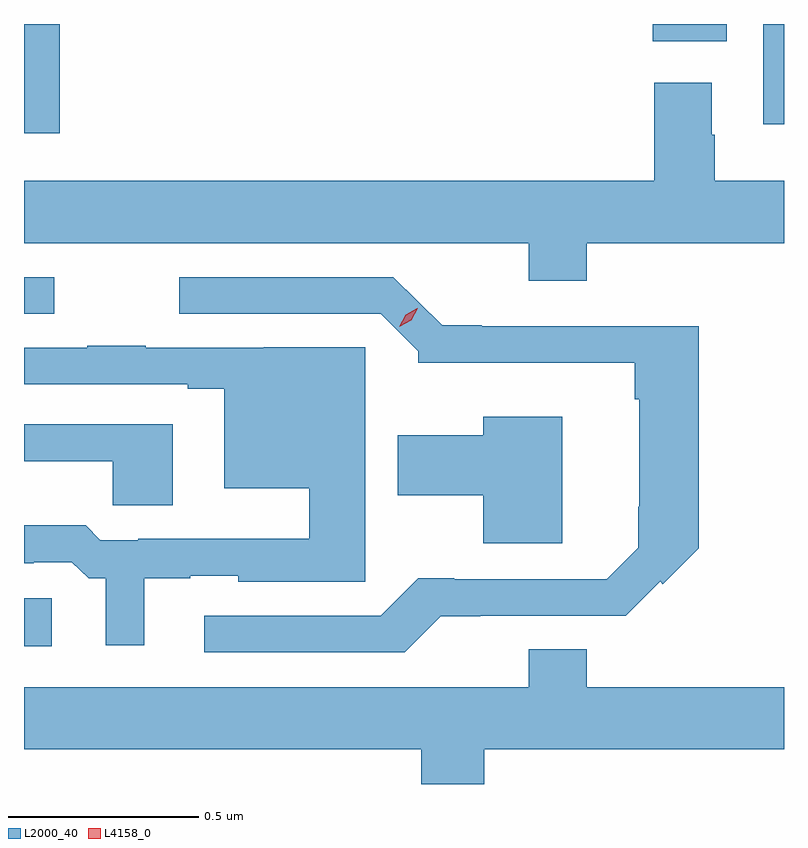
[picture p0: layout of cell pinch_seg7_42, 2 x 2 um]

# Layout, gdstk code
import gdstk
lib = gdstk.Library(unit=1e-6, precision=1e-09)
def R(c, l, rs):  # rectangles x0, y0, x1, y1
    for r in rs: c.add(gdstk.rectangle(r[:2], r[2:], *l))
def P(c, l, *ps):  # polygons
    for p in ps: c.add(gdstk.Polygon(p, *l))
L2000_40 = (2000, 40)
L4158_0 = (4158, 0)

pinch_seg7_42 = lib.new_cell('pinch_seg7_42')
R(pinch_seg7_42, L2000_40, [(1046.157,1044.843,1046.23,1044.97), (1046.157,1045.719,1046.236,1045.815), (1046.157,1046.193,1046.251,1046.481), (1048.103,1046.217,1048.157,1046.481), (1047.812,1046.435,1048.006,1046.481)])
P(pinch_seg7_42, L2000_40, [(1047.638,1045.904),(1048.157,1045.904),(1048.157,1046.068),(1047.975,1046.068),(1047.975,1046.189),(1047.967,1046.189),(1047.967,1046.326),(1047.815,1046.326),(1047.815,1046.068),(1046.157,1046.068),(1046.157,1045.904),(1047.485,1045.904),(1047.485,1045.805),(1047.638,1045.805)],
  [(1047.254,1044.923),(1047.358,1044.923),(1047.358,1044.924),(1047.741,1044.924),(1047.831,1045.015),(1047.838,1045.007),(1047.932,1045.101),(1047.932,1045.686),(1047.361,1045.686),(1047.361,1045.688),(1047.257,1045.688),(1047.129,1045.815),(1046.565,1045.815),(1046.565,1045.719),(1047.096,1045.719),(1047.195,1045.62),(1047.195,1045.589),(1047.764,1045.589),(1047.764,1045.493),(1047.776,1045.493),(1047.776,1045.21),(1047.774,1045.21),(1047.774,1045.103),(1047.69,1045.02),(1047.289,1045.02),(1047.289,1045.023),(1047.195,1045.023),(1047.096,1044.924),(1046.631,1044.924),(1046.631,1044.828),(1047.159,1044.828)],
  [(1046.473,1045.022),(1046.595,1045.022),(1046.595,1045.029),(1046.721,1045.029),(1046.721,1045.013),(1047.055,1045.013),(1047.055,1045.63),(1046.788,1045.63),(1046.788,1045.629),(1046.477,1045.629),(1046.477,1045.634),(1046.323,1045.634),(1046.323,1045.629),(1046.157,1045.629),(1046.157,1045.533),(1046.588,1045.533),(1046.588,1045.521),(1046.684,1045.521),(1046.684,1045.259),(1046.908,1045.259),(1046.908,1045.126),(1046.458,1045.126),(1046.458,1045.122),(1046.358,1045.122),(1046.319,1045.162),(1046.157,1045.162),(1046.157,1045.062),(1046.183,1045.062),(1046.183,1045.065),(1046.283,1045.065),(1046.327,1045.022),(1046.372,1045.022),(1046.372,1044.846),(1046.473,1044.846)],
  [(1047.574,1045.447),(1047.365,1045.447),(1047.365,1045.399),(1047.14,1045.399),(1047.14,1045.241),(1047.365,1045.241),(1047.365,1045.115),(1047.574,1045.115)],
  [(1046.548,1045.428),(1046.157,1045.428),(1046.157,1045.331),(1046.39,1045.331),(1046.39,1045.215),(1046.548,1045.215)],
  [(1047.368,1044.572),(1048.157,1044.572),(1048.157,1044.736),(1047.638,1044.736),(1047.638,1044.835),(1047.485,1044.835),(1047.485,1044.736),(1046.157,1044.736),(1046.157,1044.572),(1047.203,1044.572),(1047.203,1044.481),(1047.368,1044.481)])
P(pinch_seg7_42, L4158_0, [(1047.144,1045.684),(1047.144,1045.684),(1047.161,1045.716),(1047.192,1045.733),(1047.193,1045.733),(1047.193,1045.733),(1047.176,1045.702),(1047.145,1045.684)])

lib.write_gds('pinch_seg7_42.gds')
